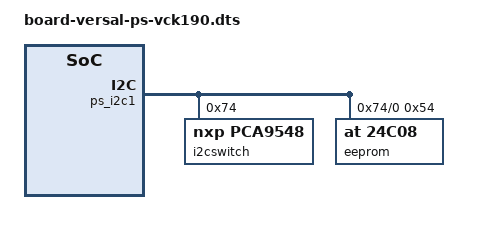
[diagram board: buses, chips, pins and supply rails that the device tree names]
/*
 * Versal Virtual vck190 board device tree
 *
 * Copyright (c) 2020, Xilinx Inc
 * All rights reserved.
 *
 * Redistribution and use in source and binary forms, with or without
 * modification, are permitted provided that the following conditions are met:
 *     * Redistributions of source code must retain the above copyright
 *       notice, this list of conditions and the following disclaimer.
 *     * Redistributions in binary form must reproduce the above copyright
 *       notice, this list of conditions and the following disclaimer in the
 *       documentation and/or other materials provided with the distribution.
 *     * Neither the name of the <organization> nor the
 *       names of its contributors may be used to endorse or promote products
 *       derived from this software without specific prior written permission.
 *
 * THIS SOFTWARE IS PROVIDED BY THE COPYRIGHT HOLDERS AND CONTRIBUTORS "AS IS" AND
 * ANY EXPRESS OR IMPLIED WARRANTIES, INCLUDING, BUT NOT LIMITED TO, THE IMPLIED
 * WARRANTIES OF MERCHANTABILITY AND FITNESS FOR A PARTICULAR PURPOSE ARE
 * DISCLAIMED. IN NO EVENT SHALL <COPYRIGHT HOLDER> BE LIABLE FOR ANY
 * DIRECT, INDIRECT, INCIDENTAL, SPECIAL, EXEMPLARY, OR CONSEQUENTIAL DAMAGES
 * (INCLUDING, BUT NOT LIMITED TO, PROCUREMENT OF SUBSTITUTE GOODS OR SERVICES;
 * LOSS OF USE, DATA, OR PROFITS; OR BUSINESS INTERRUPTION) HOWEVER CAUSED AND
 * ON ANY THEORY OF LIABILITY, WHETHER IN CONTRACT, STRICT LIABILITY, OR TORT
 * (INCLUDING NEGLIGENCE OR OTHERWISE) ARISING IN ANY WAY OUT OF THE USE OF THIS
 * SOFTWARE, EVEN IF ADVISED OF THE POSSIBILITY OF SUCH DAMAGE.
 */
#include "board-versal-ps-virt.dts"
#include "versal-silicon-freq.dtsi"

/{
	MEM_REGION64(ddr_3, MM_TOP_DDR_CH1_H, MM_TOP_DDR_CH1_L, MM_TOP_DDR_CH1,
                 0x2, 0x0, &ddr_3_mem) // 8 GB
};

&ps_i2c1 {
	i2cswitch@74 {
		#address-cells = <1>;
		#size-cells = <0>;
		compatible = "nxp,pca9548";
		reg = <0x74>;
		chip-enable = <0x1>;
		i2c@0 {
			#address-cells = <1>;
			#size-cells = <0>;
			reg = <0>;
			eeprom@54 {
				compatible = "at,24c08";
				reg = <0x54>;
			};
		};
	};
};

&ospi_flash_lcs_lb {
	compatible = "mt35xu02gbba";
};
